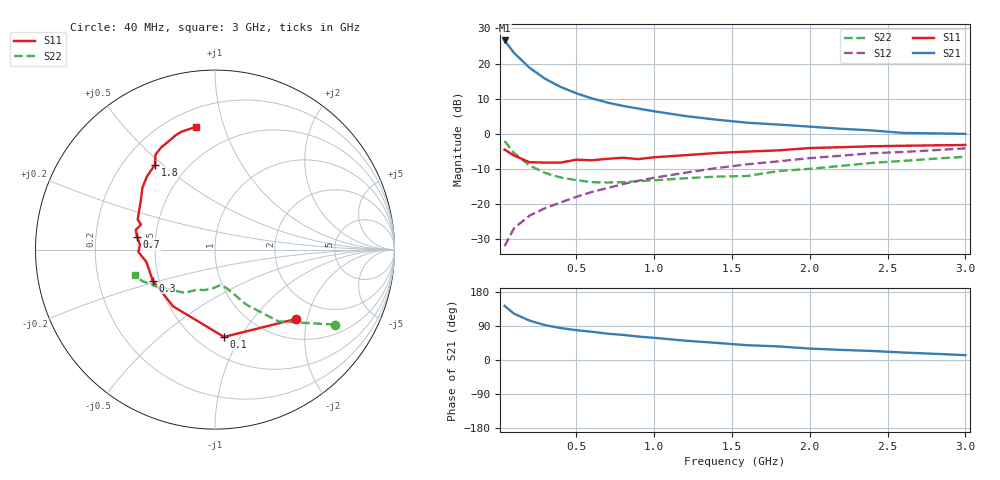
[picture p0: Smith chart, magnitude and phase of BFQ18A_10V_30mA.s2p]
! Filename:  BFQ18AB.S2P  Version:  2.0
! Philips part #: BFQ18A  Date: May 1990
! Bias condition: Vce=10V, Ic=30mA
#  MHz  S  MA  R  50
! Freq  S11  S21  S12  S22  !GUM [dB]
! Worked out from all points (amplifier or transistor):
!   21 points, 40 MHz to 3 GHz, reference 50 ohm
!   highest |S21| = 26.6 dB at 40 MHz (marker M1)
!   |S21| within 3 dB of that: start of sweep to 91.13 MHz
!   unconditionally stable (mu >= 1): 557.9 MHz to 717.6 MHz
!   at 300 MHz: K = 0.90, MSG = 18.4 dB, |S12| = -21.2 dB
!   at 1 GHz: K = 0.96, MSG = 9.5 dB, |S12| = -12.5 dB
!   at 3 GHz: K = 0.81, MSG = 2.1 dB, |S12| = -4.2 dB
!   S11 on the Smith chart (normalised r, x): 40 MHz: 1.44, -1.71; 100 MHz: 0.67, -0.85; 300 MHz: 0.46, -0.19; 700 MHz: 0.39, +0.07; 1.8 GHz: 0.33, +0.47; 3 GHz: 0.31, +0.81
40  0.594 -40.6  21.34 142.8  0.025 66.8  0.786 -32.1
100  0.489 -84.1  14.23 122.3  0.045 59.2  0.534 -48.5
200  0.393 -126.6  8.707 104.0  0.068 59.2  0.353 -60.3
300  0.388 -153.6  6.078 92.0  0.087 62.6  0.276 -66.3
400  0.388 -169.6  4.645 84.3  0.105 64.8  0.238 -70.8
500  0.427 -178.3  3.777 78.7  0.126 66.2  0.218 -74.8
600  0.419 176.2  3.194 74.6  0.148 68.1  0.204 -78.7
700  0.439 170.8  2.782 69.5  0.168 69.0  0.202 -81.8
800  0.455 166.1  2.492 66.2  0.192 68.7  0.204 -85.6
900  0.435 161.3  2.281 61.8  0.214 68.3  0.211 -89.7
1000  0.462 158.8  2.091 58.5  0.236 67.7  0.217 -94.1
1200  0.495 146.7  1.789 51.0  0.278 66.6  0.232 -103.8
1400  0.532 139.4  1.588 45.2  0.324 65.6  0.245 -113.9
1600  0.557 132.8  1.435 39.0  0.367 62.3  0.25 -115.7
1800  0.58 125.2  1.351 35.8  0.405 60.8  0.294 -124.8
2000  0.625 122.0  1.262 30.2  0.449 58.8  0.316 -133.1
2200  0.643 117.9  1.178 26.7  0.486 56.8  0.348 -141.5
2400  0.663 111.4  1.114 23.8  0.528 53.7  0.385 -147.7
2600  0.674 109.0  1.027 19.7  0.55 50.7  0.41 -152.5
2800  0.683 105.8  1.013 16.4  0.583 48.8  0.441 -156.5
3000  0.692 98.8  0.996 12.8  0.619 46.0  0.469 -162.3
